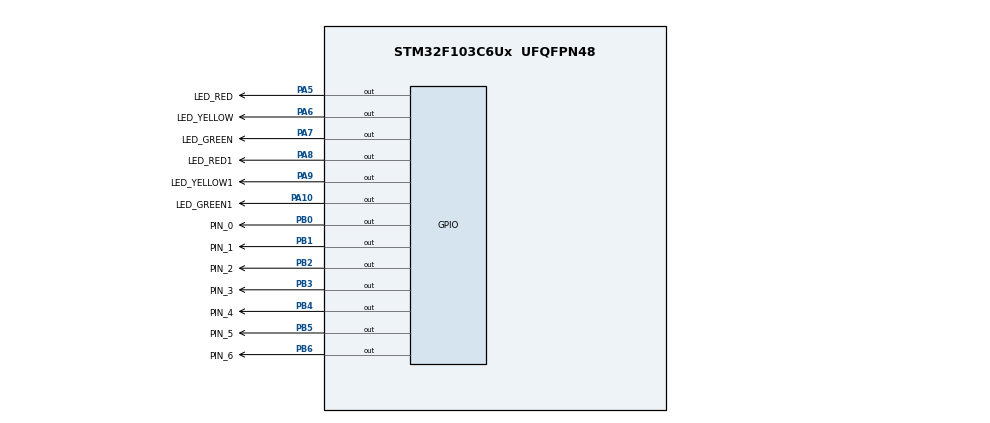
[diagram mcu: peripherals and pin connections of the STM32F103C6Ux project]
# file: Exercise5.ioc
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Mcu.Family=STM32F1
Mcu.Name=STM32F103C6Ux
Mcu.Package=UFQFPN48
NVIC.PriorityGroup=NVIC_PRIORITYGROUP_4
PA10.GPIO_Label=LED_GREEN1
PA10.Signal=GPIO_Output
PA5.GPIO_Label=LED_RED
PA5.Signal=GPIO_Output
PA6.GPIO_Label=LED_YELLOW
PA6.Signal=GPIO_Output
PA7.GPIO_Label=LED_GREEN
PA7.Signal=GPIO_Output
PA8.GPIO_Label=LED_RED1
PA8.Signal=GPIO_Output
PA9.GPIO_Label=LED_YELLOW1
PA9.Signal=GPIO_Output
PB0.GPIO_Label=PIN_0
PB0.Signal=GPIO_Output
PB1.GPIO_Label=PIN_1
PB1.Signal=GPIO_Output
PB2.GPIO_Label=PIN_2
PB2.Signal=GPIO_Output
PB3.GPIO_Label=PIN_3
PB3.Signal=GPIO_Output
PB4.GPIO_Label=PIN_4
PB4.Signal=GPIO_Output
PB5.GPIO_Label=PIN_5
PB5.Signal=GPIO_Output
PB6.GPIO_Label=PIN_6
PB6.Signal=GPIO_Output
ProjectManager.HeapSize=0x200
ProjectManager.StackSize=0x400
ProjectManager.TargetToolchain=STM32CubeIDE
RCC.APB1Freq_Value=8000000
RCC.APB2Freq_Value=8000000
VP_SYS_VS_ND.Mode=No_Debug
board=custom

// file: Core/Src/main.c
/* USER CODE BEGIN Header */
/**
  ******************************************************************************
  * @file           : main.c
  * @brief          : Main program body
  ******************************************************************************
  * @attention
  *
  * <h2><center>&copy; Copyright (c) 2022 STMicroelectronics.
  * All rights reserved.</center></h2>
  *
  * This software component is licensed by ST under BSD 3-Clause license,
  * the "License"; You may not use this file except in compliance with the
  * License. You may obtain a copy of the License at:
  *                        opensource.org/licenses/BSD-3-Clause
  *
  ******************************************************************************
  */
/* USER CODE END Header */
#include "main.h"

void SystemClock_Config(void);
static void MX_GPIO_Init(void);

int main(void)
{

  /* MCU Configuration--------------------------------------------------------*/

  /* Reset of all peripherals, Initializes the Flash interface and the Systick. */
  HAL_Init();

  /* Configure the system clock */
  SystemClock_Config();

  /* Initialize all configured peripherals */
  MX_GPIO_Init();

  /* Infinite loop */
  /* USER CODE BEGIN WHILE */
  int counter123 = 5;
  int counter456;
  while (1)
  {
    /* USER CODE END WHILE */

    /* USER CODE BEGIN 3 */
	if(counter123 == 5)
	{
		HAL_GPIO_WritePin(LED_RED_GPIO_Port, LED_RED_Pin, RESET);
		HAL_GPIO_WritePin(LED_YELLOW_GPIO_Port, LED_YELLOW_Pin, SET);
		HAL_GPIO_WritePin(LED_GREEN_GPIO_Port, LED_GREEN_Pin, SET);

		HAL_GPIO_WritePin(LED_GREEN1_GPIO_Port, LED_GREEN1_Pin, RESET);
		HAL_GPIO_WritePin(LED_YELLOW1_GPIO_Port, LED_YELLOW1_Pin, SET);
		HAL_GPIO_WritePin(LED_RED1_GPIO_Port, LED_RED1_Pin, SET);

		  HAL_GPIO_WritePin(PIN_0_GPIO_Port, PIN_0_Pin, RESET);
		  HAL_GPIO_WritePin(PIN_1_GPIO_Port, PIN_1_Pin, SET);
		  HAL_GPIO_WritePin(PIN_2_GPIO_Port, PIN_2_Pin, RESET);
		  HAL_GPIO_WritePin(PIN_3_GPIO_Port, PIN_3_Pin, RESET);
		  HAL_GPIO_WritePin(PIN_4_GPIO_Port, PIN_4_Pin, SET);
		  HAL_GPIO_WritePin(PIN_5_GPIO_Port, PIN_5_Pin, RESET);
		  HAL_GPIO_WritePin(PIN_6_GPIO_Port, PIN_6_Pin, RESET);
		  HAL_Delay(1000);
		  counter123--;//4

		  HAL_GPIO_WritePin(PIN_0_GPIO_Port, PIN_0_Pin, SET);
		  HAL_GPIO_WritePin(PIN_1_GPIO_Port, PIN_1_Pin, RESET);
		  HAL_GPIO_WritePin(PIN_3_GPIO_Port, PIN_3_Pin, SET);
		  HAL_Delay(1000);
		  counter123--;//3

		  HAL_GPIO_WritePin(PIN_0_GPIO_Port, PIN_0_Pin, RESET);
		  HAL_GPIO_WritePin(PIN_3_GPIO_Port, PIN_3_Pin, RESET);
		  HAL_GPIO_WritePin(PIN_5_GPIO_Port, PIN_5_Pin, SET);
		  HAL_Delay(1000);
		  counter123--; //2
	}
	if(counter123 == 2)
	{
		HAL_GPIO_WritePin(LED_GREEN1_GPIO_Port, LED_GREEN1_Pin, SET);
		HAL_GPIO_WritePin(LED_YELLOW1_GPIO_Port, LED_YELLOW1_Pin, RESET);

		  HAL_GPIO_WritePin(PIN_2_GPIO_Port, PIN_2_Pin, SET);
		  HAL_GPIO_WritePin(PIN_4_GPIO_Port, PIN_4_Pin, RESET);
		  HAL_Delay(1000);
		  counter123--;//1

		  HAL_GPIO_WritePin(PIN_0_GPIO_Port, PIN_0_Pin, SET);
		  HAL_GPIO_WritePin(PIN_2_GPIO_Port, PIN_2_Pin, RESET);
		  HAL_GPIO_WritePin(PIN_3_GPIO_Port, PIN_3_Pin, SET);
		  HAL_GPIO_WritePin(PIN_4_GPIO_Port, PIN_4_Pin, SET);
		  HAL_GPIO_WritePin(PIN_6_GPIO_Port, PIN_6_Pin, SET);
		  HAL_Delay(1000);
		  counter123--;//0
	}
	if(counter123 == 0)
	{
		counter456 = 5;
		HAL_GPIO_WritePin(LED_RED_GPIO_Port, LED_RED_Pin, SET);
		HAL_GPIO_WritePin(LED_GREEN_GPIO_Port, LED_GREEN_Pin, RESET);

		HAL_GPIO_WritePin(LED_YELLOW1_GPIO_Port, LED_YELLOW1_Pin, SET);
		HAL_GPIO_WritePin(LED_RED1_GPIO_Port, LED_RED1_Pin, RESET);

		  HAL_GPIO_WritePin(PIN_0_GPIO_Port, PIN_0_Pin, RESET);
		  HAL_GPIO_WritePin(PIN_3_GPIO_Port, PIN_3_Pin, RESET);
		  HAL_GPIO_WritePin(PIN_6_GPIO_Port, PIN_6_Pin, RESET);
		  HAL_Delay(1000);
		  counter456--;//4

		  HAL_GPIO_WritePin(PIN_2_GPIO_Port, PIN_2_Pin, SET);
		  HAL_GPIO_WritePin(PIN_4_GPIO_Port, PIN_4_Pin, RESET);
		  HAL_Delay(1000);
		  counter456--;//3

		  HAL_GPIO_WritePin(PIN_0_GPIO_Port, PIN_0_Pin, SET);
		  HAL_GPIO_WritePin(PIN_2_GPIO_Port, PIN_2_Pin, RESET);
		  HAL_GPIO_WritePin(PIN_3_GPIO_Port, PIN_3_Pin, SET);
		  HAL_GPIO_WritePin(PIN_4_GPIO_Port, PIN_4_Pin, SET);
		  HAL_GPIO_WritePin(PIN_6_GPIO_Port, PIN_6_Pin, SET);
		  HAL_Delay(1000);
		  counter456--;//2
	}
	if(counter456 == 2)
	{
		HAL_GPIO_WritePin(LED_GREEN_GPIO_Port, LED_GREEN_Pin, SET);
		HAL_GPIO_WritePin(LED_YELLOW_GPIO_Port, LED_YELLOW_Pin, RESET);

		  HAL_GPIO_WritePin(PIN_0_GPIO_Port, PIN_0_Pin, RESET);
		  HAL_GPIO_WritePin(PIN_2_GPIO_Port, PIN_2_Pin, SET);
		  HAL_GPIO_WritePin(PIN_3_GPIO_Port, PIN_3_Pin, RESET);
		  HAL_GPIO_WritePin(PIN_4_GPIO_Port, PIN_4_Pin, RESET);
		  HAL_GPIO_WritePin(PIN_6_GPIO_Port, PIN_6_Pin, RESET);
		  HAL_Delay(1000);
		  counter456--;

		  HAL_GPIO_WritePin(PIN_0_GPIO_Port, PIN_0_Pin, SET);
		  HAL_GPIO_WritePin(PIN_2_GPIO_Port, PIN_2_Pin, RESET);
		  HAL_GPIO_WritePin(PIN_3_GPIO_Port, PIN_3_Pin, SET);
		  HAL_GPIO_WritePin(PIN_4_GPIO_Port, PIN_4_Pin, SET);
		  HAL_GPIO_WritePin(PIN_6_GPIO_Port, PIN_6_Pin, SET);
		  HAL_Delay(1000);
		  counter456--;
	}

	if(counter456 == 0)
	{
		counter123 = 5;
	}

  }
  /* USER CODE END 3 */
}

void SystemClock_Config(void)
{
  RCC_OscInitTypeDef RCC_OscInitStruct = {0};
  RCC_ClkInitTypeDef RCC_ClkInitStruct = {0};

  /** Initializes the RCC Oscillators according to the specified parameters
  * in the RCC_OscInitTypeDef structure.
  */
  RCC_OscInitStruct.OscillatorType = RCC_OSCILLATORTYPE_HSI;
  RCC_OscInitStruct.HSIState = RCC_HSI_ON;
  RCC_OscInitStruct.HSICalibrationValue = RCC_HSICALIBRATION_DEFAULT;
  RCC_OscInitStruct.PLL.PLLState = RCC_PLL_NONE;
  if (HAL_RCC_OscConfig(&RCC_OscInitStruct) != HAL_OK)
  {
    Error_Handler();
  }
  /** Initializes the CPU, AHB and APB buses clocks
  */
  RCC_ClkInitStruct.ClockType = RCC_CLOCKTYPE_HCLK|RCC_CLOCKTYPE_SYSCLK
                              |RCC_CLOCKTYPE_PCLK1|RCC_CLOCKTYPE_PCLK2;
  RCC_ClkInitStruct.SYSCLKSource = RCC_SYSCLKSOURCE_HSI;
  RCC_ClkInitStruct.AHBCLKDivider = RCC_SYSCLK_DIV1;
  RCC_ClkInitStruct.APB1CLKDivider = RCC_HCLK_DIV1;
  RCC_ClkInitStruct.APB2CLKDivider = RCC_HCLK_DIV1;

  if (HAL_RCC_ClockConfig(&RCC_ClkInitStruct, FLASH_LATENCY_0) != HAL_OK)
  {
    Error_Handler();
  }
}

static void MX_GPIO_Init(void)
{
  GPIO_InitTypeDef GPIO_InitStruct = {0};

  /* GPIO Ports Clock Enable */
  __HAL_RCC_GPIOA_CLK_ENABLE();
  __HAL_RCC_GPIOB_CLK_ENABLE();

  /*Configure GPIO pin Output Level */
  HAL_GPIO_WritePin(GPIOA, LED_RED_Pin|LED_YELLOW_Pin|LED_GREEN_Pin|LED_RED1_Pin
                          |LED_YELLOW1_Pin|LED_GREEN1_Pin, GPIO_PIN_RESET);

  /*Configure GPIO pin Output Level */
  HAL_GPIO_WritePin(GPIOB, PIN_0_Pin|PIN_1_Pin|PIN_2_Pin|PIN_3_Pin
                          |PIN_4_Pin|PIN_5_Pin|PIN_6_Pin, GPIO_PIN_RESET);

  /*Configure GPIO pins : LED_RED_Pin LED_YELLOW_Pin LED_GREEN_Pin LED_RED1_Pin
                           LED_YELLOW1_Pin LED_GREEN1_Pin */
  GPIO_InitStruct.Pin = LED_RED_Pin|LED_YELLOW_Pin|LED_GREEN_Pin|LED_RED1_Pin
                          |LED_YELLOW1_Pin|LED_GREEN1_Pin;
  GPIO_InitStruct.Mode = GPIO_MODE_OUTPUT_PP;
  GPIO_InitStruct.Pull = GPIO_NOPULL;
  GPIO_InitStruct.Speed = GPIO_SPEED_FREQ_LOW;
  HAL_GPIO_Init(GPIOA, &GPIO_InitStruct);

  /*Configure GPIO pins : PIN_0_Pin PIN_1_Pin PIN_2_Pin PIN_3_Pin
                           PIN_4_Pin PIN_5_Pin PIN_6_Pin */
  GPIO_InitStruct.Pin = PIN_0_Pin|PIN_1_Pin|PIN_2_Pin|PIN_3_Pin
                          |PIN_4_Pin|PIN_5_Pin|PIN_6_Pin;
  GPIO_InitStruct.Mode = GPIO_MODE_OUTPUT_PP;
  GPIO_InitStruct.Pull = GPIO_NOPULL;
  GPIO_InitStruct.Speed = GPIO_SPEED_FREQ_LOW;
  HAL_GPIO_Init(GPIOB, &GPIO_InitStruct);

}

void Error_Handler(void)
{
  __disable_irq();
  while (1)
  {
  }
}

/************************ (C) COPYRIGHT STMicroelectronics *****END OF FILE****/
